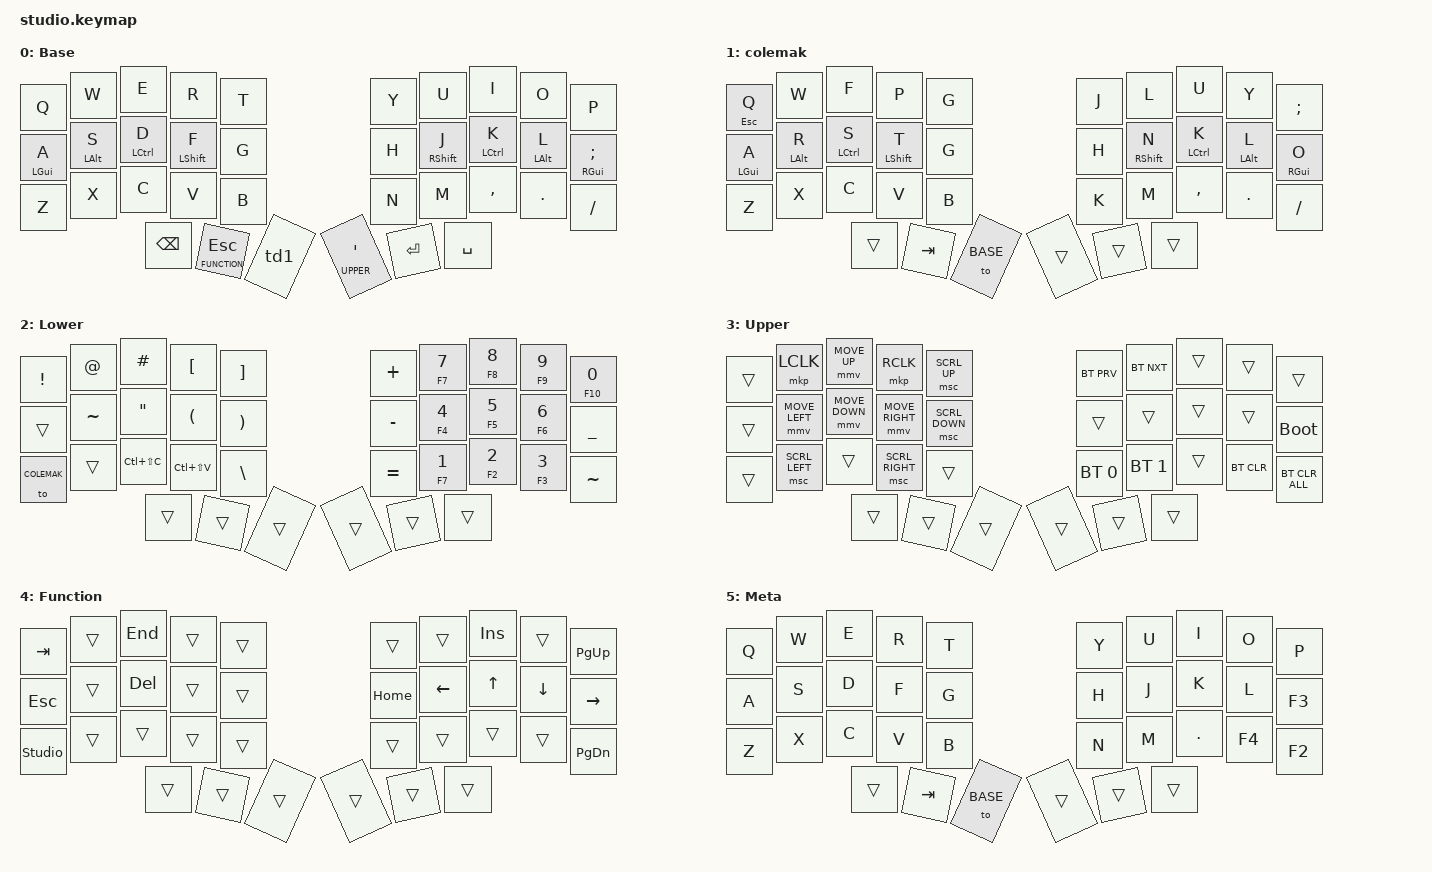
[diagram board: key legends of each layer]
/*
 * Copyright (c) 2023 The ZMK Contributors
 *
 * SPDX-License-Identifier: MIT
 */

#include <behaviors.dtsi>
#include <dt-bindings/zmk/bt.h>
#include <dt-bindings/zmk/keys.h>
#include "mouse.dtsi"

#define BASE  0
#define COLEMAK  1
#define LOWER  2
#define UPPER  3
#define FUNCTION  4 
#define META  5

/ {
    behaviors {
        td1: td_mo1_tg4 {
            compatible = "zmk,behavior-tap-dance";
            #binding-cells = <0>;
            tapping-term-ms = <250>;
            bindings = <&mo LOWER>, <&tog META>;
        };

        td2: td_mo2_sqt {
            compatible = "zmk,behavior-tap-dance";
            #binding-cells = <0>;
            tapping-term-ms = <250>;
            bindings = <&kp SQT>, <&mo UPPER>;
        };

        rpi: require_prior_idle {
            compatible = "zmk,behavior-hold-tap";
            #binding-cells = <2>;
            flavor = "tap-preferred";
            tapping-term-ms = <200>;
            quick-tap-ms = <200>;
            require-prior-idle-ms = <100>;
            bindings = <&kp>, <&kp>;
        };

        rpi_a: rpi_a {
            compatible = "zmk,behavior-hold-tap";
            #binding-cells = <2>;
            tapping-term-ms = <350>;
            quick-tap-ms = <220>;
            require-prior-idle-ms = <500>;
            flavor = "tap-preferred";
            bindings = <&kp>, <&kp>;
        };

        func: func {
            compatible = "zmk,behavior-hold-tap";
            bindings = <&kp>, <&kp>;
            #binding-cells = <2>;
            tapping-term-ms = <250>;
            flavor = "balanced";
            quick-tap-ms = <180>;
            require-prior-idle-ms = <115>;
            hold-trigger-key-positions = <16 17 18 6 7 8 9 28 27 26>;
        };
    };
};

/ {
  combos {
     compatible = "zmk,combos";
     combo_func {
            timeout-ms = <100>;
            key-positions = <3 13>;
            bindings = <&mo FUNCTION>;
            layers = <1>;
     };
     combo_num {
            timeout-ms = <100>;
            key-positions = <4 14>;
            bindings = <&mo LOWER>;
            layers = <1>;
     };
     combo_lgui {
            timeout-ms = <100>;
            key-positions = <10 20>;
            bindings = <&kp LEFT_GUI>;
            layers = <1>;
     };
     combo_lalt {
            timeout-ms = <100>;
            key-positions = <11 21>;
            bindings = <&kp LALT>;
            layers = <1>;
     };
     combo_lctl {
            timeout-ms = <100>;
            key-positions = <12 22>;
            bindings = <&kp LCTRL>;
            layers = <1>;
     };
     combo_lshift {
            timeout-ms = <100>;
            key-positions = <13 23>;
            bindings = <&kp LSHFT>;
            layers = <1>;
     };
     combo_rshift {
            timeout-ms = <100>;
            key-positions = <16 26>;
            bindings = <&kp LSHFT>;
            layers = <1>;
     };
     combo_rctrl {
            timeout-ms = <100>;
            key-positions = <17 27>;
            bindings = <&kp LCTRL>;
            layers = <1>;
     };
     combo_ralt {
            timeout-ms = <100>;
            key-positions = <18 28>;
            bindings = <&kp LALT>; 
            layers = <1>;
     }; 
     combo_rgui {
            timeout-ms = <100>;
            key-positions = <19 29>;
            bindings = <&kp RGUI>; 
            layers = <1>;
  };
};
};

/ {
    keymap {
        compatible = "zmk,keymap";

        BASE {
            display-name = "Base";
            bindings = <
&kp Q              &kp W        &kp E           &kp R         &kp T      &kp Y     &kp U         &kp I         &kp O          &kp P
&rpi_a LEFT_GUI A  &rpi LALT S  &rpi_a LCTRL D  &rpi LSHFT F  &kp G      &kp H     &rpi RSHFT J  &rpi LCTRL K  &rpi_a LALT L  &rpi RGUI SEMI
&kp Z              &kp X        &kp C           &kp V         &kp B      &kp N     &kp M         &kp COMMA     &kp DOT        &kp SLASH
                                                &kp BSPC      &lt FUNCTION ESC  &td1             &lt UPPER SQT    &kp ENTER       &kp SPACE      
            >;
        };

        COLEMAK {
        display-name = "colemak";
        bindings = <
&mt ESC Q  &kp W  &kp F  &kp P   &kp G    &kp J     &kp L  &kp U      &kp Y      &kp SEMI
&rpi_a LEFT_GUI A  &rpi LALT R  &rpi_a LCTRL S  &rpi LSHFT T  &kp G      &kp H     &rpi RSHFT N  &rpi LCTRL K  &rpi_a LALT L  &rpi RGUI O
&kp Z  &kp X  &kp C  &kp V   &kp B    &kp K     &kp M  &kp COMMA  &kp DOT    &kp SLASH
             &trans  &kp TAB  &to BASE             &trans &trans  &trans  
            >;
        };

        LOWER {
            display-name = "Lower";
            bindings = <
&kp EXCL  &kp AT     &kp HASH       &kp LBKT              &kp RBKT               &kp PLUS   &func F7 N7  &func F8 N8  &func F9 N9  &func F10 N0
&trans    &kp TILDE  &kp DQT        &kp LEFT_PARENTHESIS  &kp RIGHT_PARENTHESIS  &kp MINUS  &func F4 N4  &func F5 N5  &func F6 N6  &kp UNDER
&to COLEMAK    &trans     &kp LC(LS(C))  &kp LC(LS(V))         &kp BSLH               &kp EQUAL  &func F7 N1  &func F2 N2  &func F3 N3  &kp TILDE
                                    &trans                &trans                 &trans                  &trans       &trans       &trans
            >;
        };

        UPPER {
            display-name = "Upper";
            bindings = <
&trans  &mkp LCLK         &mmv MOVE_UP    &mkp RCLK          &msc SCRL_UP    &bt BT_PRV    &bt BT_NXT    &trans  &trans      &trans
&trans  &mmv MOVE_LEFT    &mmv MOVE_DOWN  &mmv MOVE_RIGHT    &msc SCRL_DOWN  &trans        &trans        &trans  &trans      &bootloader
&trans  &msc SCRL_LEFT  &trans          &msc SCRL_RIGHT  &trans            &bt BT_SEL 0  &bt BT_SEL 1  &trans  &bt BT_CLR  &bt BT_CLR_ALL
                                          &trans             &trans            &trans                      &trans  &trans      &trans
            >;
        };

        FUNCTION {
            display-name = "Function";
            bindings = <
&kp TAB  &trans  &kp END  &trans  &trans  &trans    &trans    &kp INS  &trans    &kp PG_UP
&kp ESC  &trans  &kp DEL  &trans  &trans  &kp HOME  &kp LEFT  &kp UP   &kp DOWN  &kp RIGHT
&studio_unlock   &trans  &trans   &trans  &trans  &trans    &trans    &trans   &trans    &kp PG_DN
                          &trans  &trans  &trans              &trans   &trans    &trans
            >;
        };

        META {
            display-name = "Meta";
            bindings = <
&kp Q  &kp W  &kp E  &kp R   &kp T    &kp Y     &kp U  &kp I      &kp O      &kp P
&kp A  &kp S  &kp D  &kp F   &kp G    &kp H     &kp J  &kp K      &kp L      &kp F3
&kp Z  &kp X  &kp C  &kp V   &kp B    &kp N     &kp M  &kp DOT    &kp F4     &kp F2
                     &trans  &kp TAB  &to BASE         &trans     &trans  &trans  
            >;
        };

        extra2 {
            status = "reserved";
    };
};
};
